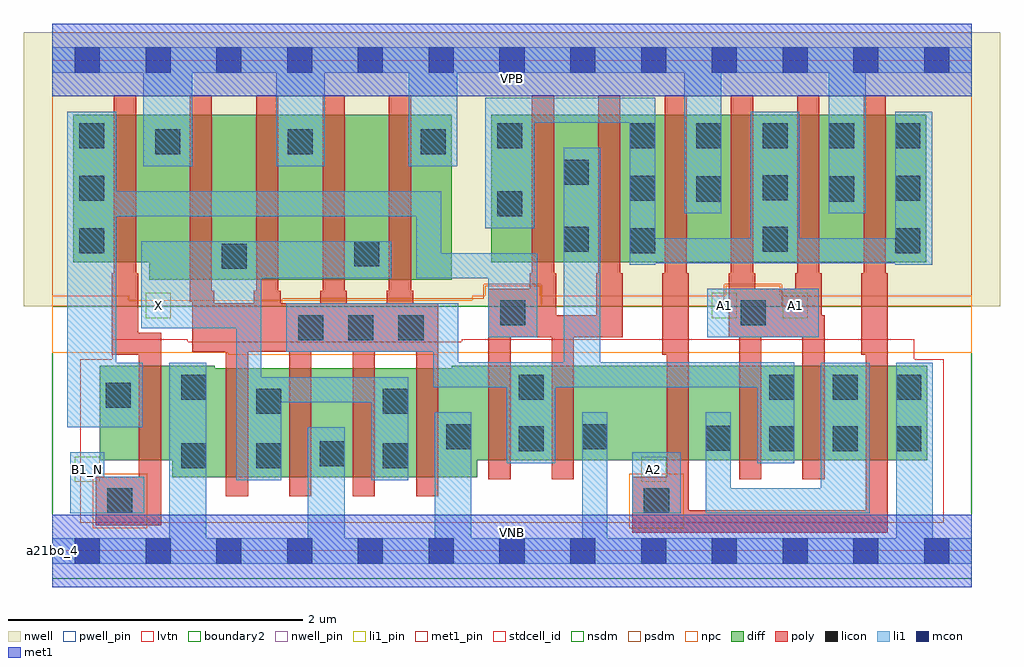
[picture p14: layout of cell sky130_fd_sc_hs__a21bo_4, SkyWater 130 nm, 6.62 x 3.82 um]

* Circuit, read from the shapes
.subckt sky130_fd_sc_hs__a21bo_4 A1 A2 B1_N VGND VNB VPB VPWR X
XM1 VGND B1_N n1 VNB sky130_fd_pr__nfet_01v8_lvt w=0.64 l=0.15
XM2 X n2 VGND VNB sky130_fd_pr__nfet_01v8_lvt w=0.74 l=0.15 m=4
XM3 n2 n1 VGND VNB sky130_fd_pr__nfet_01v8_lvt w=0.64 l=0.15 m=2
XM4 n3 A2 VGND VNB sky130_fd_pr__nfet_01v8_lvt w=0.64 l=0.15 m=2
XM5 n2 A1 n3 VNB sky130_fd_pr__nfet_01v8_lvt w=0.64 l=0.15 m=2
XM6 VPWR B1_N n1 VPB sky130_fd_pr__pfet_01v8 w=1 l=0.15
XM7 X n2 VPWR VPB sky130_fd_pr__pfet_01v8 w=1.12 l=0.15 m=4
XM8 n2 n1 n4 VPB sky130_fd_pr__pfet_01v8 w=1 l=0.15 m=2
XM9 VPWR A2 n4 VPB sky130_fd_pr__pfet_01v8 w=1 l=0.15 m=2
XM10 n4 A1 VPWR VPB sky130_fd_pr__pfet_01v8 w=1 l=0.15 m=2
.ends

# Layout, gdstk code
import gdstk
lib = gdstk.Library(unit=1e-6, precision=1e-09)
def R(c, l, rs):  # rectangles x0, y0, x1, y1
    for r in rs: c.add(gdstk.rectangle(r[:2], r[2:], *l))
def A(c, l, x, y, w, h, nx, ny, dx, dy):  # array of equal rectangles
    R(c, l, [(x+i*dx, y+j*dy, x+i*dx+w, y+j*dy+h) for i in range(nx) for j in range(ny)])
def P(c, l, *ps):  # polygons
    for p in ps: c.add(gdstk.Polygon(p, *l))
nwell_pin = (64, 16)
nwell = (64, 20)
diff = (65, 20)
poly = (66, 20)
licon = (66, 44)
li1_pin = (67, 16)
li1 = (67, 20)
mcon = (67, 44)
met1_pin = (68, 16)
met1 = (68, 20)
stdcell_id = (81, 4)
nsdm = (93, 44)
psdm = (94, 20)
npc = (95, 20)
pwell_pin = (122, 16)
lvtn = (125, 44)
boundary2 = (236, 0)

sky130_fd_sc_hs__a21bo_4 = lib.new_cell('sky130_fd_sc_hs__a21bo_4')
R(sky130_fd_sc_hs__a21bo_4, nwell_pin, [(0,3.085,6.24,3.33)])
R(sky130_fd_sc_hs__a21bo_4, nwell, [(-0.19,1.66,6.43,3.52)])
R(sky130_fd_sc_hs__a21bo_4, diff, [(2.98,1.96,5.93,2.96)])
P(sky130_fd_sc_hs__a21bo_4, diff, [(2.71,2.96),(0.145,2.96),(0.145,1.96),(0.66,1.96),(0.66,1.84),(2.71,1.84)],
  [(5.935,1.255),(2.71,1.255),(2.71,1.24),(1.105,1.24),(1.105,1.255),(0.325,1.255),(0.325,0.615),(0.815,0.615),(0.815,0.5),(2.885,0.5),(2.885,0.615),(5.935,0.615)])
P(sky130_fd_sc_hs__a21bo_4, poly, [(0.74,1.48),(0.585,1.48),(0.585,1.885),(0.57,1.885),(0.57,3.09),(0.42,3.09),(0.42,1.885),(0.405,1.885),(0.405,1.33),(0.59,1.33),(0.59,0.505),(0.295,0.505),(0.295,0.175),(0.74,0.175)],
  [(5.67,1.885),(5.655,1.885),(5.655,3.09),(5.505,3.09),(5.505,1.885),(5.49,1.885),(5.49,1.33),(5.52,1.33),(5.52,0.275),(4.32,0.275),(4.32,1.885),(4.305,1.885),(4.305,3.09),(4.155,3.09),(4.155,1.885),(4.14,1.885),(4.14,1.33),(4.17,1.33),(4.17,0.505),(3.935,0.505),(3.935,0.125),(5.67,0.125)],
  [(5.24,1.6),(5.22,1.6),(5.22,1.885),(5.205,1.885),(5.205,3.09),(5.055,3.09),(5.055,1.885),(5.04,1.885),(5.04,1.78),(4.77,1.78),(4.77,1.885),(4.755,1.885),(4.755,3.09),(4.605,3.09),(4.605,1.885),(4.59,1.885),(4.59,1.45),(4.66,1.45),(4.66,0.485),(4.81,0.485),(4.81,1.45),(5.09,1.45),(5.09,0.485),(5.24,0.485)],
  [(3.87,1.885),(3.855,1.885),(3.855,3.09),(3.705,3.09),(3.705,1.885),(3.69,1.885),(3.69,1.6),(3.42,1.6),(3.42,1.885),(3.405,1.885),(3.405,3.09),(3.255,3.09),(3.255,1.885),(3.24,1.885),(3.24,1.78),(2.96,1.78),(2.96,0.485),(3.11,0.485),(3.11,1.45),(3.39,1.45),(3.39,0.485),(3.54,0.485),(3.54,1.45),(3.87,1.45)],
  [(2.62,1.68),(2.45,1.68),(2.45,1.765),(2.435,1.765),(2.435,3.09),(2.285,3.09),(2.285,1.765),(2.27,1.765),(2.27,1.68),(2,1.68),(2,1.765),(1.985,1.765),(1.985,3.09),(1.835,3.09),(1.835,1.765),(1.82,1.765),(1.82,1.68),(1.55,1.68),(1.55,1.765),(1.535,1.765),(1.535,3.09),(1.385,3.09),(1.385,1.765),(1.37,1.765),(1.37,1.68),(1.1,1.68),(1.1,1.765),(1.085,1.765),(1.085,3.09),(0.935,3.09),(0.935,1.69),(0.95,1.69),(0.95,1.35),(1.18,1.35),(1.18,0.37),(1.33,0.37),(1.33,1.35),(1.61,1.35),(1.61,0.37),(1.76,0.37),(1.76,1.35),(2.04,1.35),(2.04,0.37),(2.19,0.37),(2.19,1.35),(2.47,1.35),(2.47,0.37),(2.62,0.37)])
A(sky130_fd_sc_hs__a21bo_4, licon, 4.865, 0.675, 0.17, 0.17, 3, 2, 0.43, 0.35)
A(sky130_fd_sc_hs__a21bo_4, licon, 1.67, 1.43, 0.17, 0.17, 3, 1, 0.34, 0)
A(sky130_fd_sc_hs__a21bo_4, licon, 0.185, 2.02, 0.17, 0.17, 1, 3, 0, 0.355)
A(sky130_fd_sc_hs__a21bo_4, licon, 0.7, 2.69, 0.17, 0.17, 3, 1, 0.9, 0)
A(sky130_fd_sc_hs__a21bo_4, licon, 3.92, 2.73, 0.17, 0.17, 5, 1, 0.45, 0)
R(sky130_fd_sc_hs__a21bo_4, licon, [(0.375,0.255,0.545,0.425), (4.015,0.255,4.185,0.425), (0.875,0.56,1.045,0.73), (1.385,0.56,1.555,0.73), (2.245,0.56,2.415,0.73), (1.815,0.575,1.985,0.745), (3.165,0.675,3.335,0.845), (4.435,0.68,4.605,0.85), (2.675,0.69,2.845,0.86), (3.595,0.69,3.765,0.86), (1.385,0.93,1.555,1.1), (2.245,0.93,2.415,1.1), (0.365,0.97,0.535,1.14), (0.875,1.025,1.045,1.195), (3.165,1.025,3.335,1.195), (3.04,1.53,3.21,1.7), (4.67,1.53,4.84,1.7), (1.15,1.915,1.32,2.085), (2.05,1.93,2.22,2.1), (3.92,2.02,4.09,2.19), (5.72,2.02,5.89,2.19), (3.47,2.03,3.64,2.2), (4.82,2.03,4.99,2.2), (3.02,2.27,3.19,2.44), (4.37,2.37,4.54,2.54), (5.27,2.37,5.44,2.54), (3.92,2.375,4.09,2.545), (5.72,2.375,5.89,2.545), (4.82,2.38,4.99,2.55), (3.47,2.485,3.64,2.655), (3.02,2.73,3.19,2.9)])
R(sky130_fd_sc_hs__a21bo_4, li1_pin, [(0.155,0.47,0.325,0.64), (3.995,0.47,4.165,0.64), (0.635,1.58,0.805,1.75), (4.475,1.58,4.645,1.75), (4.955,1.58,5.125,1.75)])
R(sky130_fd_sc_hs__a21bo_4, li1, [(3.935,0.255,4.265,0.67), (4.445,1.45,5.2,1.78)])
P(sky130_fd_sc_hs__a21bo_4, li1, [(2.42,2.61),(2.42,3.245),(1.85,3.245),(1.85,2.61),(1.52,2.61),(1.52,3.245),(0.95,3.245),(0.95,2.61),(0.62,2.61),(0.62,3.245),(0,3.245),(0,3.415),(6.24,3.415),(6.24,3.245),(5.52,3.245),(5.52,2.29),(5.27,2.29),(5.27,3.245),(4.54,3.245),(4.54,2.29),(4.29,2.29),(4.29,3.245),(2.75,3.245),(2.75,2.61)],
  [(6.24,0.085),(5.975,0.085),(5.975,1.275),(5.725,1.275),(5.725,0.085),(3.765,0.085),(3.765,0.94),(3.595,0.94),(3.595,0.085),(2.845,0.085),(2.845,0.94),(2.595,0.94),(2.595,0.085),(1.985,0.085),(1.985,0.84),(1.735,0.84),(1.735,0.085),(1.045,0.085),(1.045,1.275),(0.795,1.275),(0.795,0.085),(0,0.085),(0,-0.085),(6.24,-0.085)],
  [(1.42,1.18),(2.415,1.18),(2.415,0.48),(2.165,0.48),(2.165,1.01),(1.555,1.01),(1.555,0.48),(1.25,0.48),(1.25,1.51),(0.605,1.51),(0.605,2.1),(2.3,2.1),(2.3,1.85),(1.42,1.85)],
  [(0.105,2.98),(0.435,2.98),(0.435,2.44),(2.64,2.44),(2.64,2.02),(3.29,2.02),(3.29,1.45),(2.96,1.45),(2.96,1.85),(2.47,1.85),(2.47,2.27),(0.435,2.27),(0.435,1.275),(0.615,1.275),(0.615,0.84),(0.105,0.84)],
  [(2.585,1.11),(2.585,1.35),(1.59,1.35),(1.59,1.68),(2.755,1.68),(2.755,1.28),(3.47,1.28),(3.47,2.735),(3.72,2.735),(3.72,1.28),(5.035,1.28),(5.035,0.595),(4.785,0.595),(4.785,1.11),(3.415,1.11),(3.415,0.595),(3.085,0.595),(3.085,1.11)],
  [(0.125,0.255),(0.125,0.67),(0.355,0.67),(0.355,0.505),(0.625,0.505),(0.625,0.255)],
  [(3.92,1.94),(3.92,2.905),(3.27,2.905),(3.27,2.19),(2.94,2.19),(2.94,3.075),(4.09,3.075),(4.09,2.12),(4.74,2.12),(4.74,2.98),(5.07,2.98),(5.07,2.12),(5.72,2.12),(5.72,2.98),(5.97,2.98),(5.97,1.94),(5.72,1.94),(5.72,1.95),(4.09,1.95),(4.09,1.94)],
  [(5.215,0.425),(5.215,1.275),(5.545,1.275),(5.545,0.255),(4.435,0.255),(4.435,0.94),(4.605,0.94),(4.605,0.425)])
A(sky130_fd_sc_hs__a21bo_4, mcon, 0.155, -0.085, 0.17, 0.17, 13, 2, 0.48, 3.33)
R(sky130_fd_sc_hs__a21bo_4, met1_pin, [(0,0,6.24,0.245), (0,3.085,6.24,3.33)])
R(sky130_fd_sc_hs__a21bo_4, met1, [(0,-0.245,6.24,0.245), (0,3.085,6.24,3.575)])
R(sky130_fd_sc_hs__a21bo_4, stdcell_id, [(0,0,6.24,3.33)])
R(sky130_fd_sc_hs__a21bo_4, nsdm, [(0,-0.19,6.24,1.66)])
P(sky130_fd_sc_hs__a21bo_4, psdm, [(6.24,3.52),(0,3.52),(0,1.66),(1.56,1.66),(1.56,1.71),(2.93,1.71),(2.93,1.81),(3.32,1.81),(3.32,1.66),(4.56,1.66),(4.56,1.81),(4.95,1.81),(4.95,1.66),(6.24,1.66)])
R(sky130_fd_sc_hs__a21bo_4, npc, [(0.275,0.155,0.645,0.525), (3.915,0.155,4.285,0.525)])
P(sky130_fd_sc_hs__a21bo_4, npc, [(6.24,1.73),(4.94,1.73),(4.94,1.8),(4.57,1.8),(4.57,1.73),(3.31,1.73),(3.31,1.8),(2.94,1.8),(2.94,1.73),(2.85,1.73),(2.85,1.7),(0.52,1.7),(0.52,1.73),(0,1.73),(0,1.345),(1.195,1.345),(1.195,1.33),(2.62,1.33),(2.62,1.345),(6.24,1.345)])
R(sky130_fd_sc_hs__a21bo_4, pwell_pin, [(0,0,6.24,0.245)])
P(sky130_fd_sc_hs__a21bo_4, lvtn, [(6.05,1.3),(5.85,1.3),(5.85,1.435),(2.78,1.435),(2.78,1.42),(0.92,1.42),(0.92,1.435),(0.41,1.435),(0.41,1.3),(0.19,1.3),(0.19,0.19),(6.05,0.19)])
R(sky130_fd_sc_hs__a21bo_4, boundary2, [(0,0,6.24,3.33)])
sky130_fd_sc_hs__a21bo_4.add(gdstk.Label('a21bo_4', (0,0), layer=83, texttype=44))
sky130_fd_sc_hs__a21bo_4.add(gdstk.Label('VNB', (3.12,0.123), layer=64, texttype=59))
sky130_fd_sc_hs__a21bo_4.add(gdstk.Label('VPB', (3.12,3.208), layer=64, texttype=5))
sky130_fd_sc_hs__a21bo_4.add(gdstk.Label('VPWR', (3.12,3.208), layer=68, texttype=5))
sky130_fd_sc_hs__a21bo_4.add(gdstk.Label('VGND', (3.12,0.123), layer=68, texttype=5))
sky130_fd_sc_hs__a21bo_4.add(gdstk.Label('B1_N', (0.24,0.555), layer=67, texttype=5))
sky130_fd_sc_hs__a21bo_4.add(gdstk.Label('A2', (4.08,0.555), layer=67, texttype=5))
sky130_fd_sc_hs__a21bo_4.add(gdstk.Label('A1', (4.56,1.665), layer=67, texttype=5))
sky130_fd_sc_hs__a21bo_4.add(gdstk.Label('A1', (5.04,1.665), layer=67, texttype=5))
sky130_fd_sc_hs__a21bo_4.add(gdstk.Label('X', (0.72,1.665), layer=67, texttype=5))

lib.write_gds('sky130_fd_sc_hs__a21bo_4.gds')
